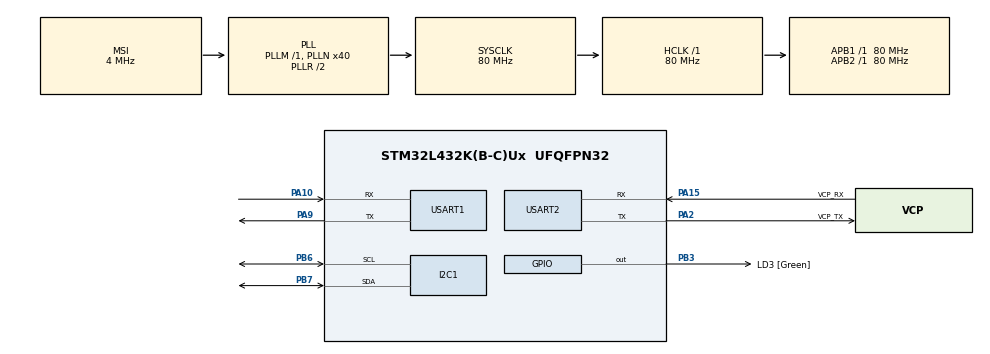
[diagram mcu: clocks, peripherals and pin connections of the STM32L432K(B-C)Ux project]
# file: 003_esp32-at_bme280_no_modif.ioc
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Dma.Request0=USART1_RX
Dma.Request1=USART1_TX
Dma.USART1_RX.0.Direction=DMA_PERIPH_TO_MEMORY
Dma.USART1_RX.0.Instance=DMA1_Channel5
Dma.USART1_RX.0.MemDataAlignment=DMA_MDATAALIGN_BYTE
Dma.USART1_RX.0.MemInc=DMA_MINC_ENABLE
Dma.USART1_RX.0.Mode=DMA_CIRCULAR
Dma.USART1_RX.0.PeriphDataAlignment=DMA_PDATAALIGN_BYTE
Dma.USART1_RX.0.PeriphInc=DMA_PINC_DISABLE
Dma.USART1_RX.0.Priority=DMA_PRIORITY_LOW
Dma.USART1_TX.1.Direction=DMA_MEMORY_TO_PERIPH
Dma.USART1_TX.1.Instance=DMA1_Channel4
Dma.USART1_TX.1.MemDataAlignment=DMA_MDATAALIGN_BYTE
Dma.USART1_TX.1.MemInc=DMA_MINC_ENABLE
Dma.USART1_TX.1.Mode=DMA_NORMAL
Dma.USART1_TX.1.PeriphDataAlignment=DMA_PDATAALIGN_BYTE
Dma.USART1_TX.1.PeriphInc=DMA_PINC_DISABLE
Dma.USART1_TX.1.Priority=DMA_PRIORITY_LOW
I2C1.Timing=0x10D19CE4
Mcu.Family=STM32L4
Mcu.Name=STM32L432K(B-C)Ux
Mcu.Package=UFQFPN32
NVIC.DMA1_Channel4_IRQn=true\:0\:0\:false\:false\:true\:false\:true\:true
NVIC.DMA1_Channel5_IRQn=true\:0\:0\:false\:false\:true\:false\:true\:true
NVIC.I2C1_ER_IRQn=true\:0\:0\:false\:false\:true\:true\:true\:true
NVIC.I2C1_EV_IRQn=true\:0\:0\:false\:false\:true\:true\:true\:true
NVIC.PriorityGroup=NVIC_PRIORITYGROUP_4
NVIC.TIM6_DAC_IRQn=true\:0\:0\:false\:false\:true\:true\:true\:true
NVIC.USART1_IRQn=true\:0\:0\:false\:false\:true\:true\:true\:true
NVIC.USART2_IRQn=true\:0\:0\:false\:false\:true\:true\:true\:true
PA0.GPIO_Label=MCO [High speed clock in]
PA0.Mode=HSE-External-Clock-Source-for-LittleOrca
PA0.Signal=RCC_CK_IN
PA10.Mode=Asynchronous
PA10.Signal=USART1_RX
PA13\ (JTMS-SWDIO).GPIO_Label=SWDIO
PA13\ (JTMS-SWDIO).Mode=Serial_Wire
PA13\ (JTMS-SWDIO).Signal=SYS_JTMS-SWDIO
PA14\ (JTCK-SWCLK).GPIO_Label=SWCLK
PA14\ (JTCK-SWCLK).Mode=Serial_Wire
PA14\ (JTCK-SWCLK).Signal=SYS_JTCK-SWCLK
PA15\ (JTDI).GPIO_Label=VCP_RX
PA15\ (JTDI).Mode=Asynchronous
PA15\ (JTDI).Signal=USART2_RX
PA2.GPIO_Label=VCP_TX
PA2.Mode=Asynchronous
PA2.Signal=USART2_TX
PA9.Mode=Asynchronous
PA9.Signal=USART1_TX
PB3\ (JTDO-TRACESWO).GPIO_Label=LD3 [Green]
PB3\ (JTDO-TRACESWO).Signal=GPIO_Output
PB6.Mode=I2C
PB6.Signal=I2C1_SCL
PB7.Mode=I2C
PB7.Signal=I2C1_SDA
PC14-OSC32_IN\ (PC14).Mode=LSE-External-Oscillator
PC14-OSC32_IN\ (PC14).Signal=RCC_OSC32_IN
PC15-OSC32_OUT\ (PC15).Mode=LSE-External-Oscillator
PC15-OSC32_OUT\ (PC15).Signal=RCC_OSC32_OUT
ProjectManager.HeapSize=0x200
ProjectManager.StackSize=0x400
ProjectManager.TargetToolchain=STM32CubeIDE
RCC.AHBFreq_Value=80000000
RCC.APB1Freq_Value=80000000
RCC.APB1TimFreq_Value=80000000
RCC.APB2Freq_Value=80000000
RCC.APB2TimFreq_Value=80000000
RCC.CortexFreq_Value=80000000
RCC.HCLKFreq_Value=80000000
RCC.HSE_VALUE=8000000
RCC.HSI16_VALUE=16000000
RCC.HSI48_VALUE=48000000
RCC.HSI_VALUE=16000000
RCC.MSI_VALUE=4000000
RCC.PLLMUL=RCC_PLLMUL_4
RCC.PLLN=40
RCC.SYSCLKFreq_VALUE=80000000
RCC.SYSCLKSource=RCC_SYSCLKSOURCE_PLLCLK
RCC.VCOOutputFreq_Value=160000000
USART1.VirtualMode-Asynchronous=VM_ASYNC
USART2.VirtualMode-Asynchronous=VM_ASYNC
VP_TIM6_VS_ClockSourceINT.Mode=Enable_Timer
board=NUCLEO-L432KC

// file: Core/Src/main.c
/* USER CODE BEGIN Header */
/**
  ******************************************************************************
  * @file           : main.c
  * @brief          : Main program body
  ******************************************************************************
  * @attention
  *
  * Copyright (c) 2025 STMicroelectronics.
  * All rights reserved.
  *
  * This software is licensed under terms that can be found in the LICENSE file
  * in the root directory of this software component.
  * If no LICENSE file comes with this software, it is provided AS-IS.
  *
  ******************************************************************************
  */
/* USER CODE END Header */
#include "main.h"

/* USER CODE BEGIN Includes */
#include "ringbuffer.h"
#include "bme280_stm32.h"
#include <stdio.h>
#include <string.h>
#include "esp32_at_stm32.h"
/* USER CODE END Includes */

/* USER CODE BEGIN PD */

// WiFi configuration
#define WIFI_SSID "___"
#define WIFI_PASSWORD "___"
#define TOPIC_ALL_DATA "sensors/bme280/all"
#define MQTT_BROKER "192.168.68.121"
#define MQTT_CLIENTID "STM32Client"
/* USER CODE END PD */

I2C_HandleTypeDef hi2c1;

TIM_HandleTypeDef htim6;

UART_HandleTypeDef huart1;
UART_HandleTypeDef huart2;
DMA_HandleTypeDef hdma_usart1_rx;
DMA_HandleTypeDef hdma_usart1_tx;

/* USER CODE BEGIN PV */
char readBuf[1];
uint8_t txData;
__IO ITStatus UartReady = SET;
__IO ITStatus UartTxComplete = SET;
RingBuffer txBuf, rxBuf;
/* USER CODE END PV */

void SystemClock_Config(void);
static void MX_GPIO_Init(void);
static void MX_DMA_Init(void);
static void MX_USART2_UART_Init(void);
static void MX_I2C1_Init(void);
static void MX_USART1_UART_Init(void);
static void MX_TIM6_Init(void);
/* USER CODE BEGIN PFP */
int _write(int file, char *ptr, int len)
{
  if (UART_Transmit(&huart2, (uint8_t *)ptr, len))
  {
    // Wait for transmission to complete to ensure log integrity
    while (UartTxComplete == RESET || RingBuffer_GetDataLength(&txBuf) > 0)
    {
      // Allow other interrupts to process
      __NOP();
    }
    return len;
  }
  return 0; // Return 0 on failure
}
/* USER CODE END PFP */

/* USER CODE BEGIN 0 */
char ip_buf[16];

struct bme280_dev dev;
struct bme280_data comp_data;
/* USER CODE END 0 */

int main(void)
{

  /* MCU Configuration--------------------------------------------------------*/

  /* Reset of all peripherals, Initializes the Flash interface and the Systick. */
  HAL_Init();

  /* USER CODE BEGIN Init */

  HAL_Delay(20000);  // give ESP32 time to stabilize before STM32 starts communicating

  /* USER CODE END Init */

  /* Configure the system clock */
  SystemClock_Config();

  /* Initialize all configured peripherals */
  MX_GPIO_Init();
  MX_DMA_Init();
  MX_USART2_UART_Init();
  MX_I2C1_Init();
  MX_USART1_UART_Init();
  MX_TIM6_Init();
  /* USER CODE BEGIN 2 */

  RingBuffer_Init(&txBuf);
  RingBuffer_Init(&rxBuf);

  // init bme280
  int8_t rslt = bme280_init_sensor(&dev);

  if (rslt != BME280_OK)
  {
      printf("BME280 initialization failed! Error code: %d\r\n", rslt);
      Error_Handler();
  }

  printf("BME280 initialized!\r\n");

  HAL_Delay(10000);

  if (ESP_DisableEcho() != ESP32_OK)
  {
	  USER_LOG("Failed to disable echo... retrying after 10 seconds");
	  HAL_Delay(10000);
	  if (ESP_DisableEcho() != ESP32_OK)
	  {
		  USER_LOG("Failed to disable echo... Check Debug logs");
		  Error_Handler();
	  }
  }

  if (ESP_Init() != ESP32_OK)
  {
	  USER_LOG("Failed to initialize... Check Debug logs");
	  Error_Handler();
  }

  if (ESP_ConnectWiFi(WIFI_SSID, WIFI_PASSWORD, ip_buf, sizeof(ip_buf)) != ESP32_OK)
  {
	  USER_LOG("Failed to connect to wifi... Check Debug logs");
	  Error_Handler();
  }

  if (ESP_MQTT_Connect(MQTT_BROKER, 1883, MQTT_CLIENTID, NULL, NULL, 60) != ESP32_OK)
  {
	  Error_Handler();
  }
  /* USER CODE END 2 */

  /* Infinite loop */
  while (1)
  {

    /* USER CODE BEGIN 3 */
	  // read BME280 sensor data
	  int8_t bme_result = bme280_read_sensor_data(&comp_data, &dev);
	  if (bme_result != BME280_OK)
	  {
		  USER_LOG("Failed to read BME280 data: %d", bme_result);
		  Error_Handler();
	  }

	  char json_message[256];
	  snprintf(json_message, sizeof(json_message),
			  "{"
			  "\"temp\":%.2f,"
			  "\"hum\":%.2f,"
			  "\"press\":%.2f,"
			  "\"unit_t\":\"C\","
			  "\"unit_h\":\"%%\","
			  "\"unit_p\":\"hPa\""
			  "}",
			  comp_data.temperature,
			  comp_data.humidity,
			  comp_data.pressure);

	  if (ESP_CheckTCPConnection() == ESP32_OK)
	  {
		  ESP_MQTT_Publish(TOPIC_ALL_DATA, json_message, 0);
	  }
  }
  /* USER CODE END 3 */
}

void SystemClock_Config(void)
{
  RCC_OscInitTypeDef RCC_OscInitStruct = {0};
  RCC_ClkInitTypeDef RCC_ClkInitStruct = {0};

  /** Configure the main internal regulator output voltage
  */
  if (HAL_PWREx_ControlVoltageScaling(PWR_REGULATOR_VOLTAGE_SCALE1) != HAL_OK)
  {
    Error_Handler();
  }

  /** Configure LSE Drive Capability
  */
  HAL_PWR_EnableBkUpAccess();
  __HAL_RCC_LSEDRIVE_CONFIG(RCC_LSEDRIVE_LOW);

  /** Initializes the RCC Oscillators according to the specified parameters
  * in the RCC_OscInitTypeDef structure.
  */
  RCC_OscInitStruct.OscillatorType = RCC_OSCILLATORTYPE_LSE|RCC_OSCILLATORTYPE_MSI;
  RCC_OscInitStruct.LSEState = RCC_LSE_ON;
  RCC_OscInitStruct.MSIState = RCC_MSI_ON;
  RCC_OscInitStruct.MSICalibrationValue = 0;
  RCC_OscInitStruct.MSIClockRange = RCC_MSIRANGE_6;
  RCC_OscInitStruct.PLL.PLLState = RCC_PLL_ON;
  RCC_OscInitStruct.PLL.PLLSource = RCC_PLLSOURCE_MSI;
  RCC_OscInitStruct.PLL.PLLM = 1;
  RCC_OscInitStruct.PLL.PLLN = 40;
  RCC_OscInitStruct.PLL.PLLP = RCC_PLLP_DIV7;
  RCC_OscInitStruct.PLL.PLLQ = RCC_PLLQ_DIV2;
  RCC_OscInitStruct.PLL.PLLR = RCC_PLLR_DIV2;
  if (HAL_RCC_OscConfig(&RCC_OscInitStruct) != HAL_OK)
  {
    Error_Handler();
  }

  /** Initializes the CPU, AHB and APB buses clocks
  */
  RCC_ClkInitStruct.ClockType = RCC_CLOCKTYPE_HCLK|RCC_CLOCKTYPE_SYSCLK
                              |RCC_CLOCKTYPE_PCLK1|RCC_CLOCKTYPE_PCLK2;
  RCC_ClkInitStruct.SYSCLKSource = RCC_SYSCLKSOURCE_PLLCLK;
  RCC_ClkInitStruct.AHBCLKDivider = RCC_SYSCLK_DIV1;
  RCC_ClkInitStruct.APB1CLKDivider = RCC_HCLK_DIV1;
  RCC_ClkInitStruct.APB2CLKDivider = RCC_HCLK_DIV1;

  if (HAL_RCC_ClockConfig(&RCC_ClkInitStruct, FLASH_LATENCY_4) != HAL_OK)
  {
    Error_Handler();
  }

  /** Enable MSI Auto calibration
  */
  HAL_RCCEx_EnableMSIPLLMode();
}

static void MX_I2C1_Init(void)
{

  hi2c1.Instance = I2C1;
  hi2c1.Init.Timing = 0x10D19CE4;
  hi2c1.Init.OwnAddress1 = 0;
  hi2c1.Init.AddressingMode = I2C_ADDRESSINGMODE_7BIT;
  hi2c1.Init.DualAddressMode = I2C_DUALADDRESS_DISABLE;
  hi2c1.Init.OwnAddress2 = 0;
  hi2c1.Init.OwnAddress2Masks = I2C_OA2_NOMASK;
  hi2c1.Init.GeneralCallMode = I2C_GENERALCALL_DISABLE;
  hi2c1.Init.NoStretchMode = I2C_NOSTRETCH_DISABLE;
  if (HAL_I2C_Init(&hi2c1) != HAL_OK)
  {
    Error_Handler();
  }

  /** Configure Analogue filter
  */
  if (HAL_I2CEx_ConfigAnalogFilter(&hi2c1, I2C_ANALOGFILTER_ENABLE) != HAL_OK)
  {
    Error_Handler();
  }

  /** Configure Digital filter
  */
  if (HAL_I2CEx_ConfigDigitalFilter(&hi2c1, 0) != HAL_OK)
  {
    Error_Handler();
  }

}

static void MX_TIM6_Init(void)
{

  TIM_MasterConfigTypeDef sMasterConfig = {0};

  htim6.Instance = TIM6;
  htim6.Init.Prescaler = 0;
  htim6.Init.CounterMode = TIM_COUNTERMODE_UP;
  htim6.Init.Period = 65535;
  htim6.Init.AutoReloadPreload = TIM_AUTORELOAD_PRELOAD_DISABLE;
  if (HAL_TIM_Base_Init(&htim6) != HAL_OK)
  {
    Error_Handler();
  }
  sMasterConfig.MasterOutputTrigger = TIM_TRGO_RESET;
  sMasterConfig.MasterSlaveMode = TIM_MASTERSLAVEMODE_DISABLE;
  if (HAL_TIMEx_MasterConfigSynchronization(&htim6, &sMasterConfig) != HAL_OK)
  {
    Error_Handler();
  }

}

static void MX_USART1_UART_Init(void)
{

  huart1.Instance = USART1;
  huart1.Init.BaudRate = 115200;
  huart1.Init.WordLength = UART_WORDLENGTH_8B;
  huart1.Init.StopBits = UART_STOPBITS_1;
  huart1.Init.Parity = UART_PARITY_NONE;
  huart1.Init.Mode = UART_MODE_TX_RX;
  huart1.Init.HwFlowCtl = UART_HWCONTROL_NONE;
  huart1.Init.OverSampling = UART_OVERSAMPLING_16;
  huart1.Init.OneBitSampling = UART_ONE_BIT_SAMPLE_DISABLE;
  huart1.AdvancedInit.AdvFeatureInit = UART_ADVFEATURE_NO_INIT;
  if (HAL_UART_Init(&huart1) != HAL_OK)
  {
    Error_Handler();
  }

}

static void MX_USART2_UART_Init(void)
{

  huart2.Instance = USART2;
  huart2.Init.BaudRate = 115200;
  huart2.Init.WordLength = UART_WORDLENGTH_8B;
  huart2.Init.StopBits = UART_STOPBITS_1;
  huart2.Init.Parity = UART_PARITY_NONE;
  huart2.Init.Mode = UART_MODE_TX_RX;
  huart2.Init.HwFlowCtl = UART_HWCONTROL_NONE;
  huart2.Init.OverSampling = UART_OVERSAMPLING_16;
  huart2.Init.OneBitSampling = UART_ONE_BIT_SAMPLE_DISABLE;
  huart2.AdvancedInit.AdvFeatureInit = UART_ADVFEATURE_NO_INIT;
  if (HAL_UART_Init(&huart2) != HAL_OK)
  {
    Error_Handler();
  }

}

static void MX_DMA_Init(void)
{

  /* DMA controller clock enable */
  __HAL_RCC_DMA1_CLK_ENABLE();

  /* DMA interrupt init */
  /* DMA1_Channel4_IRQn interrupt configuration */
  HAL_NVIC_SetPriority(DMA1_Channel4_IRQn, 0, 0);
  HAL_NVIC_EnableIRQ(DMA1_Channel4_IRQn);
  /* DMA1_Channel5_IRQn interrupt configuration */
  HAL_NVIC_SetPriority(DMA1_Channel5_IRQn, 0, 0);
  HAL_NVIC_EnableIRQ(DMA1_Channel5_IRQn);

}

static void MX_GPIO_Init(void)
{
  GPIO_InitTypeDef GPIO_InitStruct = {0};

  /* GPIO Ports Clock Enable */
  __HAL_RCC_GPIOC_CLK_ENABLE();
  __HAL_RCC_GPIOA_CLK_ENABLE();
  __HAL_RCC_GPIOB_CLK_ENABLE();

  /*Configure GPIO pin Output Level */
  HAL_GPIO_WritePin(LD3_GPIO_Port, LD3_Pin, GPIO_PIN_RESET);

  /*Configure GPIO pin : LD3_Pin */
  GPIO_InitStruct.Pin = LD3_Pin;
  GPIO_InitStruct.Mode = GPIO_MODE_OUTPUT_PP;
  GPIO_InitStruct.Pull = GPIO_NOPULL;
  GPIO_InitStruct.Speed = GPIO_SPEED_FREQ_LOW;
  HAL_GPIO_Init(LD3_GPIO_Port, &GPIO_InitStruct);

}

/* USER CODE BEGIN 4 */
uint8_t UART_Transmit(UART_HandleTypeDef *huart, uint8_t *pData, uint16_t len)
{
	  UartTxComplete = RESET; // Mark transmission as in progress
	  if (HAL_UART_Transmit_IT(huart, pData, len) != HAL_OK)
	  {
	    if (RingBuffer_Write(&txBuf, pData, len) != RING_BUFFER_OK)
	      return 0;
	  }
	  return 1;
}

void HAL_UART_RxCpltCallback(UART_HandleTypeDef *UartHandle)
{
  /* Set transmission flag: transfer complete*/
  UartReady = SET;
}

void HAL_UART_TxCpltCallback(UART_HandleTypeDef *huart)
{
  if (huart == &huart2)
  {
    if (RingBuffer_GetDataLength(&txBuf) > 0)
    {
      RingBuffer_Read(&txBuf, &txData, 1);
      HAL_UART_Transmit_IT(huart, &txData, 1);
    }
    else
    {
      UartTxComplete = SET; // Mark transmission as complete when buffer is empty
    }
  }
}

void HAL_UART_RxHalfCpltCallback(UART_HandleTypeDef *huart)
{
  if (huart == &huart1)
  {
    // UART4 DMA RX half complete - update tail pointer for circular buffer
    // This helps in handling continuous reception
  }
}

void HAL_UART_ErrorCallback(UART_HandleTypeDef *huart)
{
  if (huart == &huart1)
  {
    // Handle UART1 errors - restart DMA reception if needed
    HAL_UART_DMAStop(&huart1);

  }
}
/* USER CODE END 4 */

void Error_Handler(void)
{
  /* USER CODE BEGIN Error_Handler_Debug */
  /* User can add his own implementation to report the HAL error return state */
  __disable_irq();
  HAL_GPIO_WritePin(LD3_GPIO_Port, LD3_Pin, GPIO_PIN_SET);
  while (1)
  {
  }
  /* USER CODE END Error_Handler_Debug */
}
